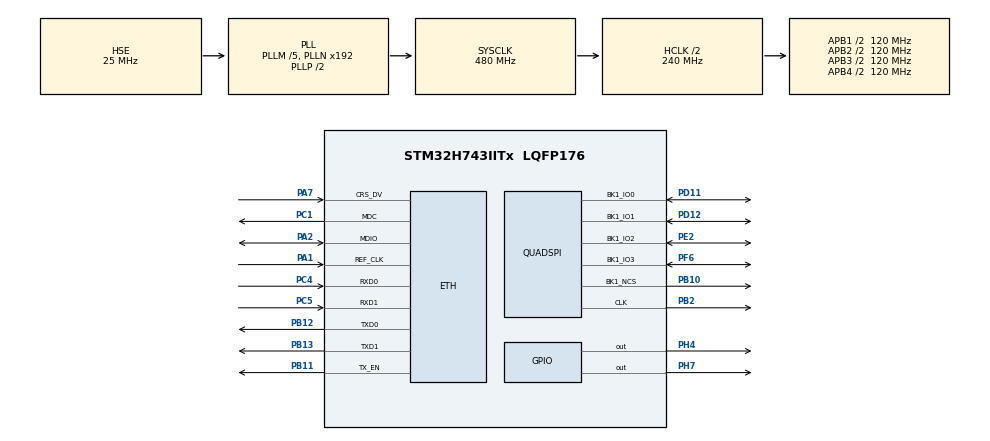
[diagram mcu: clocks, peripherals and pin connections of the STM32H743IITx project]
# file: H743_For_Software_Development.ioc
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CORTEX_M7.AccessPermission_Spec=MPU_REGION_FULL_ACCESS
CORTEX_M7.BaseAddress_Spec=0x30000000
CORTEX_M7.CPU_DCache=Enabled
CORTEX_M7.CPU_ICache=Enabled
CORTEX_M7.DisableExec_Spec=MPU_INSTRUCTION_ACCESS_ENABLE
CORTEX_M7.Enable_S-Cortex_Memory_Protection_Unit_Region1_Settings_S=__NULL
CORTEX_M7.Enable_Spec=MPU_REGION_ENABLE
CORTEX_M7.Size_Spec=MPU_REGION_SIZE_512KB
CORTEX_M7.SubRegionDisable_Spec=0
CORTEX_M7.TypeExtField_Spec=MPU_TEX_LEVEL1
CORTEX_M7.default_mode_Activation=1
ETH.MediaInterface=HAL_ETH_RMII_MODE
FREERTOS.Tasks01=defaultTask,24,1536,StartDefaultTask,Default,NULL,Dynamic,NULL,NULL
LWIP.BSP.number=1
LWIP.GATEWAY_ADDRESS=192.168.010.001
LWIP.IP_ADDRESS=192.168.010.166
LWIP.LWIP_DHCP=0
LWIP.LWIP_NETIF_STATUS_CALLBACK=1
LWIP.MEM_SIZE=14336
LWIP.NETMASK_ADDRESS=255.255.255.000
LWIP.Version=v2.1.2_Cube
LWIP0.BSP.STBoard=false
LWIP0.BSP.api=BSP_COMPONENT_DRIVER
LWIP0.BSP.component=LAN8742
LWIP0.BSP.instance=LAN8742
LWIP0.BSP.name=Driver_PHY
LWIP0.BSP.semaphore=S_LAN8742
LWIP0.BSP.solution=LAN8742
Mcu.Family=STM32H7
Mcu.Name=STM32H743IITx
Mcu.Package=LQFP176
NVIC.ETH_IRQn=true\:5\:0\:false\:false\:true\:true\:true\:true\:true
NVIC.PriorityGroup=NVIC_PRIORITYGROUP_4
NVIC.TIM1_UP_IRQn=true\:15\:0\:false\:false\:true\:false\:false\:true\:true
NVIC.TimeBase=TIM1_UP_IRQn
NVIC.TimeBaseIP=TIM1
PA1.GPIO_Mode=GPIO_MODE_AF_PP
PA1.GPIO_PuPd=GPIO_NOPULL
PA1.GPIO_Speed=GPIO_SPEED_FREQ_VERY_HIGH
PA1.Mode=RMII
PA1.Signal=ETH_REF_CLK
PA13\ (JTMS/SWDIO).Mode=Serial_Wire
PA13\ (JTMS/SWDIO).Signal=DEBUG_JTMS-SWDIO
PA14\ (JTCK/SWCLK).Mode=Serial_Wire
PA14\ (JTCK/SWCLK).Signal=DEBUG_JTCK-SWCLK
PA2.GPIO_Mode=GPIO_MODE_AF_PP
PA2.GPIO_PuPd=GPIO_NOPULL
PA2.GPIO_Speed=GPIO_SPEED_FREQ_VERY_HIGH
PA2.Mode=RMII
PA2.Signal=ETH_MDIO
PA7.GPIO_Mode=GPIO_MODE_AF_PP
PA7.GPIO_PuPd=GPIO_NOPULL
PA7.GPIO_Speed=GPIO_SPEED_FREQ_VERY_HIGH
PA7.Mode=RMII
PA7.Signal=ETH_CRS_DV
PB10.GPIO_Speed=GPIO_SPEED_FREQ_VERY_HIGH
PB10.Mode=Single Bank 1
PB10.Signal=QUADSPI_BK1_NCS
PB11.GPIO_Mode=GPIO_MODE_AF_PP
PB11.GPIO_PuPd=GPIO_NOPULL
PB11.GPIO_Speed=GPIO_SPEED_FREQ_VERY_HIGH
PB11.Mode=RMII
PB11.Signal=ETH_TX_EN
PB12.GPIO_Mode=GPIO_MODE_AF_PP
PB12.GPIO_PuPd=GPIO_NOPULL
PB12.GPIO_Speed=GPIO_SPEED_FREQ_VERY_HIGH
PB12.Mode=RMII
PB12.Signal=ETH_TXD0
PB13.GPIO_Mode=GPIO_MODE_AF_PP
PB13.GPIO_PuPd=GPIO_NOPULL
PB13.GPIO_Speed=GPIO_SPEED_FREQ_VERY_HIGH
PB13.Mode=RMII
PB13.Signal=ETH_TXD1
PB2.GPIO_Speed=GPIO_SPEED_FREQ_VERY_HIGH
PB2.Mode=Single Bank 1
PB2.Signal=QUADSPI_CLK
PC1.GPIO_Mode=GPIO_MODE_AF_PP
PC1.GPIO_PuPd=GPIO_NOPULL
PC1.GPIO_Speed=GPIO_SPEED_FREQ_VERY_HIGH
PC1.Mode=RMII
PC1.Signal=ETH_MDC
PC4.GPIO_Mode=GPIO_MODE_AF_PP
PC4.GPIO_PuPd=GPIO_NOPULL
PC4.GPIO_Speed=GPIO_SPEED_FREQ_VERY_HIGH
PC4.Mode=RMII
PC4.Signal=ETH_RXD0
PC5.GPIO_Mode=GPIO_MODE_AF_PP
PC5.GPIO_PuPd=GPIO_NOPULL
PC5.GPIO_Speed=GPIO_SPEED_FREQ_VERY_HIGH
PC5.Mode=RMII
PC5.Signal=ETH_RXD1
PD11.GPIO_Speed=GPIO_SPEED_FREQ_VERY_HIGH
PD11.Mode=Single Bank 1
PD11.Signal=QUADSPI_BK1_IO0
PD12.GPIO_Speed=GPIO_SPEED_FREQ_VERY_HIGH
PD12.Mode=Single Bank 1
PD12.Signal=QUADSPI_BK1_IO1
PE2.GPIO_Speed=GPIO_SPEED_FREQ_VERY_HIGH
PE2.Mode=Single Bank 1
PE2.Signal=QUADSPI_BK1_IO2
PF6.GPIO_Speed=GPIO_SPEED_FREQ_VERY_HIGH
PF6.Mode=Single Bank 1
PF6.Signal=QUADSPI_BK1_IO3
PH0-OSC_IN\ (PH0).Mode=HSE-External-Oscillator
PH0-OSC_IN\ (PH0).Signal=RCC_OSC_IN
PH1-OSC_OUT\ (PH1).Mode=HSE-External-Oscillator
PH1-OSC_OUT\ (PH1).Signal=RCC_OSC_OUT
PH4.GPIO_Speed=GPIO_SPEED_FREQ_LOW
PH4.PinState=GPIO_PIN_RESET
PH4.Signal=GPIO_Output
PH7.PinState=GPIO_PIN_RESET
PH7.Signal=GPIO_Output
ProjectManager.HeapSize=0x800
ProjectManager.StackSize=0x800
ProjectManager.TargetToolchain=CMake
QUADSPI.ChipSelectHighTime=QSPI_CS_HIGH_TIME_2_CYCLE
QUADSPI.ClockPrescaler=2
QUADSPI.FifoThreshold=4
QUADSPI.FlashSize=22
QUADSPI.SampleShifting=QSPI_SAMPLE_SHIFTING_HALFCYCLE
RCC.ADCFreq_Value=75000000
RCC.APB1Freq_Value=120000000
RCC.APB2Freq_Value=120000000
RCC.APB3Freq_Value=120000000
RCC.APB4Freq_Value=120000000
RCC.CortexFreq_Value=480000000
RCC.D1PPRE=RCC_APB3_DIV2
RCC.D2PPRE1=RCC_APB1_DIV2
RCC.D2PPRE2=RCC_APB2_DIV2
RCC.D3PPRE=RCC_APB4_DIV2
RCC.DIVM1=5
RCC.DIVM2=2
RCC.DIVN1=192
RCC.DIVN2=12
RCC.HCLKFreq_Value=240000000
RCC.HPRE=RCC_HCLK_DIV2
RCC.PLLSourceVirtual=RCC_PLLSOURCE_HSE
RCC.SYSCLKFreq_VALUE=480000000
RCC.SYSCLKSource=RCC_SYSCLKSOURCE_PLLCLK
RCC.USBFreq_Value=480000000
VP_FREERTOS_VS_CMSIS_V2.Mode=CMSIS_V2
VP_LWIP_VS_Enabled.Mode=Enabled
VP_MEMORYMAP_VS_MEMORYMAP.Mode=CurAppReg
VP_SYS_VS_tim1.Mode=TIM1
board=custom

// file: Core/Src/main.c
/* USER CODE BEGIN Header */
/**
  ******************************************************************************
  * @file           : main.c
  * @brief          : Main program body
  ******************************************************************************
  * @attention
  *
  * Copyright (c) 2026 STMicroelectronics.
  * All rights reserved.
  *
  * This software is licensed under terms that can be found in the LICENSE file
  * in the root directory of this software component.
  * If no LICENSE file comes with this software, it is provided AS-IS.
  *
  ******************************************************************************
  */
/* USER CODE END Header */
#include "main.h"
#include "cmsis_os.h"
#include "lwip.h"
#include "quadspi.h"
#include "gpio.h"

void SystemClock_Config(void);
static void MPU_Config(void);
void MX_FREERTOS_Init(void);

int main(void)
{

  /* MPU Configuration--------------------------------------------------------*/
  MPU_Config();

  /* Enable the CPU Cache */

  /* Enable I-Cache---------------------------------------------------------*/
  SCB_EnableICache();

  /* Enable D-Cache---------------------------------------------------------*/
  SCB_EnableDCache();

  /* MCU Configuration--------------------------------------------------------*/

  /* Reset of all peripherals, Initializes the Flash interface and the Systick. */
  HAL_Init();

  /* Configure the system clock */
  SystemClock_Config();

  /* Initialize all configured peripherals */
  MX_GPIO_Init();
  MX_QUADSPI_Init();
  /* USER CODE BEGIN 2 */
  HAL_GPIO_WritePin(GPIOH, GPIO_PIN_4, GPIO_PIN_RESET);
  HAL_Delay(50);
  HAL_GPIO_WritePin(GPIOH, GPIO_PIN_4, GPIO_PIN_SET);
  HAL_Delay(50);

  /* USER CODE END 2 */

  /* Init scheduler */
  osKernelInitialize();  /* Call init function for freertos objects (in cmsis_os2.c) */
  MX_FREERTOS_Init();

  /* Start scheduler */
  osKernelStart();

  /* We should never get here as control is now taken by the scheduler */

  /* Infinite loop */
  while (1)
  {

  }
}

void SystemClock_Config(void)
{
  RCC_OscInitTypeDef RCC_OscInitStruct = {0};
  RCC_ClkInitTypeDef RCC_ClkInitStruct = {0};

  /** Supply configuration update enable
  */
  HAL_PWREx_ConfigSupply(PWR_LDO_SUPPLY);

  /** Configure the main internal regulator output voltage
  */
  __HAL_PWR_VOLTAGESCALING_CONFIG(PWR_REGULATOR_VOLTAGE_SCALE0);

  while(!__HAL_PWR_GET_FLAG(PWR_FLAG_VOSRDY)) {}

  /** Initializes the RCC Oscillators according to the specified parameters
  * in the RCC_OscInitTypeDef structure.
  */
  RCC_OscInitStruct.OscillatorType = RCC_OSCILLATORTYPE_HSE;
  RCC_OscInitStruct.HSEState = RCC_HSE_ON;
  RCC_OscInitStruct.PLL.PLLState = RCC_PLL_ON;
  RCC_OscInitStruct.PLL.PLLSource = RCC_PLLSOURCE_HSE;
  RCC_OscInitStruct.PLL.PLLM = 5;
  RCC_OscInitStruct.PLL.PLLN = 192;
  RCC_OscInitStruct.PLL.PLLP = 2;
  RCC_OscInitStruct.PLL.PLLQ = 2;
  RCC_OscInitStruct.PLL.PLLR = 2;
  RCC_OscInitStruct.PLL.PLLRGE = RCC_PLL1VCIRANGE_2;
  RCC_OscInitStruct.PLL.PLLVCOSEL = RCC_PLL1VCOWIDE;
  RCC_OscInitStruct.PLL.PLLFRACN = 0;
  if (HAL_RCC_OscConfig(&RCC_OscInitStruct) != HAL_OK)
  {
    Error_Handler();
  }

  /** Initializes the CPU, AHB and APB buses clocks
  */
  RCC_ClkInitStruct.ClockType = RCC_CLOCKTYPE_HCLK|RCC_CLOCKTYPE_SYSCLK
                              |RCC_CLOCKTYPE_PCLK1|RCC_CLOCKTYPE_PCLK2
                              |RCC_CLOCKTYPE_D3PCLK1|RCC_CLOCKTYPE_D1PCLK1;
  RCC_ClkInitStruct.SYSCLKSource = RCC_SYSCLKSOURCE_PLLCLK;
  RCC_ClkInitStruct.SYSCLKDivider = RCC_SYSCLK_DIV1;
  RCC_ClkInitStruct.AHBCLKDivider = RCC_HCLK_DIV2;
  RCC_ClkInitStruct.APB3CLKDivider = RCC_APB3_DIV2;
  RCC_ClkInitStruct.APB1CLKDivider = RCC_APB1_DIV2;
  RCC_ClkInitStruct.APB2CLKDivider = RCC_APB2_DIV2;
  RCC_ClkInitStruct.APB4CLKDivider = RCC_APB4_DIV2;

  if (HAL_RCC_ClockConfig(&RCC_ClkInitStruct, FLASH_LATENCY_4) != HAL_OK)
  {
    Error_Handler();
  }
}

 /* MPU Configuration */

void MPU_Config(void)
{
  MPU_Region_InitTypeDef MPU_InitStruct = {0};

  /* Disables the MPU */
  HAL_MPU_Disable();

  /** Initializes and configures the Region and the memory to be protected
  */
  MPU_InitStruct.Enable = MPU_REGION_ENABLE;
  MPU_InitStruct.Number = MPU_REGION_NUMBER0;
  MPU_InitStruct.BaseAddress = 0x30000000;
  MPU_InitStruct.Size = MPU_REGION_SIZE_512KB;
  MPU_InitStruct.SubRegionDisable = 0;
  MPU_InitStruct.TypeExtField = MPU_TEX_LEVEL1;
  MPU_InitStruct.AccessPermission = MPU_REGION_FULL_ACCESS;
  MPU_InitStruct.DisableExec = MPU_INSTRUCTION_ACCESS_ENABLE;
  MPU_InitStruct.IsShareable = MPU_ACCESS_SHAREABLE;
  MPU_InitStruct.IsCacheable = MPU_ACCESS_NOT_CACHEABLE;
  MPU_InitStruct.IsBufferable = MPU_ACCESS_NOT_BUFFERABLE;

  HAL_MPU_ConfigRegion(&MPU_InitStruct);
  /* Enables the MPU */
  HAL_MPU_Enable(MPU_PRIVILEGED_DEFAULT);

}

void HAL_TIM_PeriodElapsedCallback(TIM_HandleTypeDef *htim)
{
  if (htim->Instance == TIM1)
  {
    HAL_IncTick();
  }
}

void Error_Handler(void)
{
  /* USER CODE BEGIN Error_Handler_Debug */
  /* User can add his own implementation to report the HAL error return state */
  __asm volatile("bkpt #0");
  while (1)
  {
  }
  /* USER CODE END Error_Handler_Debug */
}

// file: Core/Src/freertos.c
/* USER CODE BEGIN Header */
/**
  ******************************************************************************
  * File Name          : freertos.c
  * Description        : Code for freertos applications
  ******************************************************************************
  * @attention
  *
  * Copyright (c) 2026 STMicroelectronics.
  * All rights reserved.
  *
  * This software is licensed under terms that can be found in the LICENSE file
  * in the root directory of this software component.
  * If no LICENSE file comes with this software, it is provided AS-IS.
  *
  ******************************************************************************
  */
/* USER CODE END Header */

#include "FreeRTOS.h"
#include "task.h"
#include "main.h"
#include "cmsis_os.h"

/* USER CODE BEGIN Includes */
#include "w25q64.h"
#include "lfs_port.h"
#include "lfs.h"
#include <string.h>

/* USER CODE END Includes */
int externMain(void);

/* Definitions for defaultTask */
osThreadId_t defaultTaskHandle;
const osThreadAttr_t defaultTask_attributes = {
  .name = "defaultTask",
  .stack_size = 2048 * 4,
  .priority = (osPriority_t) osPriorityNormal,
};

void StartDefaultTask(void *argument);

extern void MX_LWIP_Init(void);
void MX_FREERTOS_Init(void); /* (MISRA C 2004 rule 8.1) */

void MX_FREERTOS_Init(void) {

  /* Create the thread(s) */
  /* creation of defaultTask */
  defaultTaskHandle = osThreadNew(StartDefaultTask, NULL, &defaultTask_attributes);

}

void StartDefaultTask(void *argument)
{
  /* init code for LWIP */
  MX_LWIP_Init();
  /* USER CODE BEGIN StartDefaultTask */
  int ok = 0;

  /* --- Step 1: raw read block 0, check littlefs superblock magic --- */
  do {
    uint8_t hdr[64];
    uint32_t jedec_id = 0;
    if (W25Q64_ReadJedecId(&jedec_id) != W25Q64_OK || jedec_id != W25Q64_JEDEC_ID)
      break;
    if (W25Q64_EnableQuadMode() != W25Q64_OK)
      break;
    /* littlefs metadata tag for superblock contains "littlefs" string.
     * Scan the first 64 bytes for the magic. */
    if (W25Q64_Read(0, hdr, sizeof(hdr)) != W25Q64_OK)
      break;
    {
      int found = 0;
      for (size_t i = 0; i <= sizeof(hdr) - 8; i++) {
        if (memcmp(&hdr[i], "littlefs", 8) == 0) { found = 1; break; }
      }
      if (!found)
        break;
    }

    /* --- Step 2: mount via lfs_port (will NOT format if mount fails) --- */
    int mount_err = lfs_port_init();
    if (mount_err != 0)
      break;

    lfs_t *lfs = lfs_port_fs();
    if (lfs == NULL)
      break;

    /* --- Step 3: read /a.txt and verify content --- */
    lfs_file_t f;
    if (lfs_file_open(lfs, &f, "/a.txt", LFS_O_RDONLY) < 0)
      break;

    char buf[16];
    lfs_ssize_t n = lfs_file_read(lfs, &f, buf, sizeof(buf) - 1);
    lfs_file_close(lfs, &f);
    if (n < 4)
      break;
    buf[n] = '\0';

    if (strncmp(buf, "aaaa", 4) != 0)
      break;

    ok = 1;
  } while (0);

  if (!ok) {
    /* Verification failed: toggle LED once and stop */
    HAL_GPIO_TogglePin(GPIOH, GPIO_PIN_7);
  }
  externMain();

  /* USER CODE END StartDefaultTask */
}

/* USER CODE BEGIN Application */

void vApplicationStackOverflowHook(xTaskHandle xTask, signed char *pcTaskName)
{
    /* 栈溢出时触发断点, 不关中断以保持 GDB 可调试 */
    (void)xTask;
    (void)pcTaskName;
    __asm volatile("bkpt #0");  /* 硬件断点, 调试器会停在这里 */
    for (;;) {}
}

/* USER CODE END Application */
